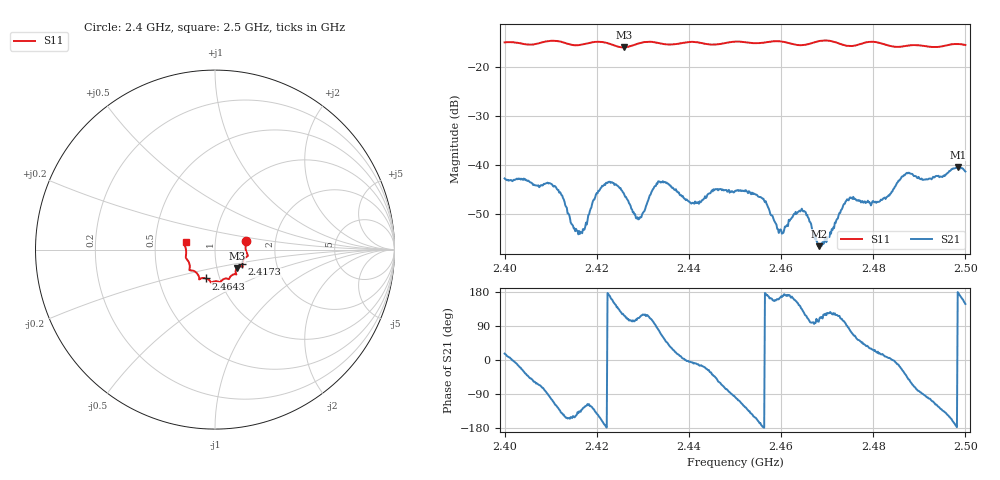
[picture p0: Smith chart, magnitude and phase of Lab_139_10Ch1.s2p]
# Hz S RI R 50
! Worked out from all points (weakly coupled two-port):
!   601 points, 2.4 GHz to 2.5 GHz, reference 50 ohm
!   highest |S21| = -40.36 dB at 2.4983 GHz (marker M1); lowest = -56.6 dB at 2.4683 GHz (marker M2)
!   lowest |S11| = -15.9 dB at 2.4258 GHz (marker M3), VSWR 1.38, Z = 62.3 - j13.3 ohm
!   |S11| at or under -10 dB: start of sweep to end of sweep
!   S12 and S22 are empty: the file has one direction only
!   S11 on the Smith chart (normalised r, x): 2.4 GHz: 1.41, +0.14; 2.4173 GHz: 1.34, -0.23; 2.4643 GHz: 0.86, -0.28; 2.5 GHz: 0.72, +0.06
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2.4e9  0.1731 0.0493  0.00699 0.00212  0 0  0 0
2.4105e9  0.1837 -0.0339  -0.00203 -0.00576  0 0  0 0
2.414833e9  0.1601 -0.0543  -0.00203 -0.00127  0 0  0 0
2.416667e9  0.1527 -0.0747  -0.00135 -0.00153  0 0  0 0
2.417333e9  0.152 -0.082  -0.00125 -0.0018  0 0  0 0
2.421667e9  0.1527 -0.0952  -0.00626 -0.00106  0 0  0 0
2.425833e9  0.1216 -0.1037  -0.00249 0.00455  0 0  0 0
2.429167e9  0.116 -0.1322  -0.000993 0.00262  0 0  0 0
2.433333e9  0.1129 -0.1369  0.00113 0.00673  0 0  0 0
2.440667e9  0.0784 -0.1644  0.00406 -0.000455  0 0  0 0
2.45e9  0.0294 -0.1809  -0.00071 -0.00539  0 0  0 0
2.456167e9  -0.00794 -0.1784  -0.00452 -0.000223  0 0  0 0
2.46e9  -0.0233 -0.1824  -0.00213 0.000461  0 0  0 0
2.464333e9  -0.0499 -0.1607  -0.0025 0.00239  0 0  0 0
2.466667e9  -0.076 -0.1597  -0.000339 0.00226  0 0  0 0
2.468333e9  -0.086 -0.1649  -0.000502 0.00139  0 0  0 0
2.4745e9  -0.1017 -0.1309  0.000284 0.00439  0 0  0 0
2.483333e9  -0.1407 -0.0901  0.00489 0.000438  0 0  0 0
2.487333e9  -0.1572 -0.0543  0.00591 -0.00589  0 0  0 0
2.491333e9  -0.1614 -0.0316  -0.00055 -0.0071  0 0  0 0
2.498333e9  -0.1703 0.033  -0.00959 0.000132  0 0  0 0
2.5e9  -0.1638 0.0419  -0.00729 0.00458  0 0  0 0
